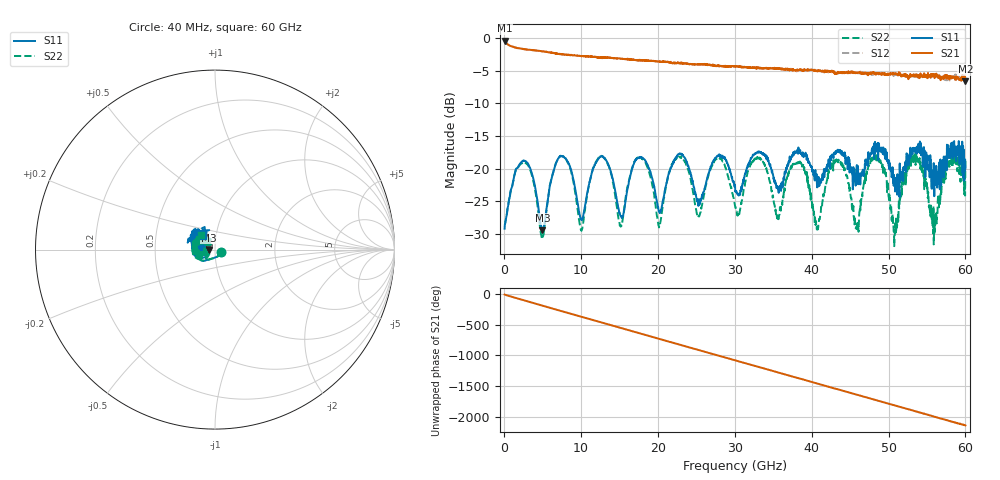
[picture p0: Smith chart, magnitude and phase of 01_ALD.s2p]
! File created by 'SoftPlot +Plus+ Measurement Management Software'
! SoftPlot +Plus+ Measurement Management Software
! Start 40.000000 MHz  Stop 60.000000 GHz  Points 1601
# MHZ S RI R 50
! S-Parameter data, F S11 S21 S12 S22
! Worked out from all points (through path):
!   1601 points, 40 MHz to 60 GHz, reference 50 ohm
!   highest |S21| = -0.36 dB at 40 MHz (marker M1); lowest = -6.6 dB at 60 GHz (marker M2)
!   group delay of S21, straight-line fit = 98.9 ps
!   lowest |S11| = -29.5 dB at 4.949 GHz (marker M3), VSWR 1.07, Z = 46.7 - j0.126 ohm
!   |S11| at or under -10 dB: start of sweep to end of sweep
!   |S22| runs from -31.9 to -17.1 dB; largest |S21 - S12| = 0.059
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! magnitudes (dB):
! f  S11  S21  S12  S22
! 40 MHz  -29.2  -0.4  -0.4  -28.5
! 2.663 GHz  -18.8  -1.7  -1.7  -19.0
! 4.949 GHz  -29.5  -2.0  -2.0  -30.6
! 7.423 GHz  -18.1  -2.4  -2.5  -18.1
! 10.05 GHz  -27.8  -2.8  -2.8  -29.5
! 12.59 GHz  -18.1  -2.9  -3.0  -18.1
! 15.1 GHz  -27.2  -3.1  -3.1  -28.8
! 17.54 GHz  -18.4  -3.4  -3.4  -18.3
! 20.05 GHz  -26.2  -3.6  -3.6  -28.6
! 22.67 GHz  -17.8  -3.9  -3.8  -18.3
! 25.26 GHz  -25.7  -4.0  -4.0  -27.3
! 27.73 GHz  -18.0  -4.2  -4.2  -18.4
! 30.02 GHz  -22.5  -4.3  -4.3  -25.7
! 33.02 GHz  -17.5  -4.6  -4.6  -18.4
! 35.53 GHz  -22.7  -4.6  -4.7  -27.1
! 37.89 GHz  -17.6  -5.0  -5.0  -19.1
! 40.03 GHz  -19.8  -4.8  -4.9  -25.1
! 50.03 GHz  -19.6  -5.5  -5.5  -24.3
! 50.89 GHz  -22.0  -5.5  -5.6  -29.5
! 53.63 GHz  -17.4  -5.7  -5.6  -18.3
! 56.03 GHz  -21.1  -6.0  -5.3  -27.1
! 60 GHz  -20.0  -6.6  -6.2  -18.8
